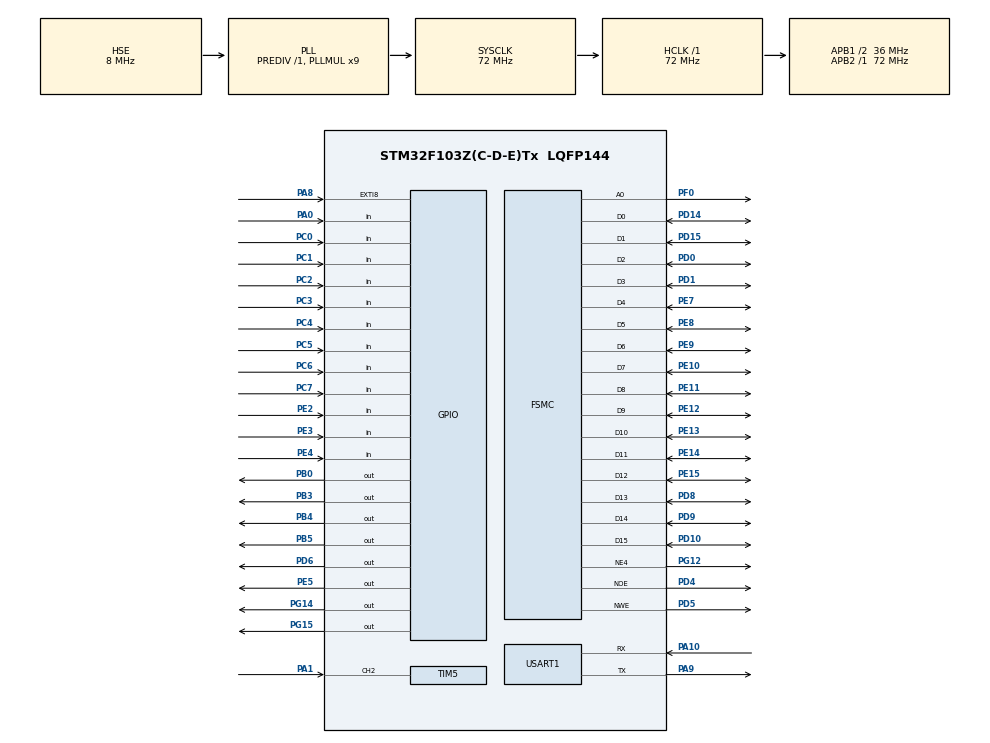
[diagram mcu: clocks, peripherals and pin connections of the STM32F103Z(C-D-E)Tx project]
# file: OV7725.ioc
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FREERTOS.BinarySemaphores01=presss,Dynamic,NULL
FREERTOS.INCLUDE_eTaskGetState=1
FREERTOS.INCLUDE_pcTaskGetTaskName=1
FREERTOS.INCLUDE_uxTaskGetStackHighWaterMark=1
FREERTOS.INCLUDE_vTaskCleanUpResources=1
FREERTOS.INCLUDE_vTaskDelayUntil=1
FREERTOS.INCLUDE_xEventGroupSetBitFromISR=1
FREERTOS.INCLUDE_xQueueGetMutexHolder=1
FREERTOS.INCLUDE_xSemaphoreGetMutexHolder=1
FREERTOS.INCLUDE_xTaskAbortDelay=1
FREERTOS.INCLUDE_xTaskGetCurrentTaskHandle=1
FREERTOS.INCLUDE_xTaskGetHandle=1
FREERTOS.INCLUDE_xTimerPendFunctionCall=1
FREERTOS.Queues01=mailQueue,16,uint16_t,0,Dynamic,NULL,NULL
FREERTOS.Tasks01=defaultTask,-1,128,StartDefaultTask,Default,NULL,Dynamic,NULL,NULL;OV7725Process,0,128,OV7725ProcessTask,Default,NULL,Dynamic,NULL,NULL;PID_Thread,2,128,PIDThread,Default,NULL,Dynamic,NULL,NULL
FREERTOS.configCHECK_FOR_STACK_OVERFLOW=0
FREERTOS.configGENERATE_RUN_TIME_STATS=1
FREERTOS.configRECORD_STACK_HIGH_ADDRESS=1
FREERTOS.configUSE_APPLICATION_TASK_TAG=1
FREERTOS.configUSE_COUNTING_SEMAPHORES=1
FREERTOS.configUSE_CO_ROUTINES=1
FREERTOS.configUSE_DAEMON_TASK_STARTUP_HOOK=0
FREERTOS.configUSE_IDLE_HOOK=0
FREERTOS.configUSE_MALLOC_FAILED_HOOK=0
FREERTOS.configUSE_NEWLIB_REENTRANT=1
FREERTOS.configUSE_RECURSIVE_MUTEXES=1
FREERTOS.configUSE_STATS_FORMATTING_FUNCTIONS=1
FREERTOS.configUSE_TICK_HOOK=0
FREERTOS.configUSE_TIMERS=1
FSMC.AddressSetupTime1=6
FSMC.BusTurnAroundDuration1=0
FSMC.DataSetupTime1=26
FSMC.ExtendedAddressSetupTime1=3
FSMC.ExtendedBusTurnAroundDuration1=0
FSMC.ExtendedDataSetupTime1=6
FSMC.ExtendedMode1=FSMC_EXTENDED_MODE_ENABLE
FSMC.WriteOperation1=FSMC_WRITE_OPERATION_ENABLE
Mcu.Family=STM32F1
Mcu.Name=STM32F103Z(C-D-E)Tx
Mcu.Package=LQFP144
NVIC.EXTI9_5_IRQn=true\:6\:0\:true\:false\:true\:true\:true\:true\:true
NVIC.PriorityGroup=NVIC_PRIORITYGROUP_4
NVIC.TIM4_IRQn=true\:5\:0\:false\:false\:true\:true\:true\:true\:true
NVIC.TIM5_IRQn=true\:5\:0\:true\:false\:true\:true\:true\:true\:true
NVIC.TIM6_IRQn=true\:10\:0\:true\:false\:true\:true\:true\:true\:true
NVIC.TIM7_IRQn=true\:6\:0\:true\:false\:true\:true\:true\:true\:true
NVIC.USART1_IRQn=true\:10\:0\:true\:false\:true\:true\:true\:true\:true
OSC_IN.Mode=HSE-External-Oscillator
OSC_IN.Signal=RCC_OSC_IN
OSC_OUT.Mode=HSE-External-Oscillator
OSC_OUT.Signal=RCC_OSC_OUT
PA0-WKUP.GPIO_PuPd=GPIO_PULLDOWN
PA0-WKUP.Signal=GPIO_Input
PA1.Signal=S_TIM5_CH2
PA10.Mode=Asynchronous
PA10.Signal=USART1_RX
PA13.Mode=Serial_Wire
PA13.Signal=SYS_JTMS-SWDIO
PA14.Mode=Serial_Wire
PA14.Signal=SYS_JTCK-SWCLK
PA8.GPIO_PuPd=GPIO_PULLDOWN
PA8.Signal=GPXTI8
PA9.Mode=Asynchronous
PA9.Signal=USART1_TX
PB0.GPIO_PuPd=GPIO_PULLUP
PB0.GPIO_Speed=GPIO_SPEED_FREQ_HIGH
PB0.PinState=GPIO_PIN_RESET
PB0.Signal=GPIO_Output
PB3.GPIO_PuPd=GPIO_NOPULL
PB3.PinState=GPIO_PIN_SET
PB3.Signal=GPIO_Output
PB4.GPIO_PuPd=GPIO_NOPULL
PB4.PinState=GPIO_PIN_SET
PB4.Signal=GPIO_Output
PB5.GPIO_PuPd=GPIO_PULLUP
PB5.GPIO_Speed=GPIO_SPEED_FREQ_HIGH
PB5.PinState=GPIO_PIN_SET
PB5.Signal=GPIO_Output
PC0.GPIO_PuPd=GPIO_PULLUP
PC0.Signal=GPIO_Input
PC1.GPIO_PuPd=GPIO_PULLUP
PC1.Signal=GPIO_Input
PC2.GPIO_PuPd=GPIO_PULLUP
PC2.Signal=GPIO_Input
PC3.GPIO_PuPd=GPIO_PULLUP
PC3.Signal=GPIO_Input
PC4.GPIO_PuPd=GPIO_PULLUP
PC4.Signal=GPIO_Input
PC5.GPIO_PuPd=GPIO_PULLUP
PC5.Signal=GPIO_Input
PC6.GPIO_PuPd=GPIO_PULLUP
PC6.Signal=GPIO_Input
PC7.GPIO_PuPd=GPIO_PULLUP
PC7.Signal=GPIO_Input
PD0.Signal=FSMC_D2_DA2
PD1.Signal=FSMC_D3_DA3
PD10.Signal=FSMC_D15_DA15
PD14.Signal=FSMC_D0_DA0
PD15.Signal=FSMC_D1_DA1
PD4.Signal=FSMC_NOE
PD5.Signal=FSMC_NWE
PD6.PinState=GPIO_PIN_SET
PD6.Signal=GPIO_Output
PD8.Signal=FSMC_D13_DA13
PD9.Signal=FSMC_D14_DA14
PE10.Signal=FSMC_D7_DA7
PE11.Signal=FSMC_D8_DA8
PE12.Signal=FSMC_D9_DA9
PE13.Signal=FSMC_D10_DA10
PE14.Signal=FSMC_D11_DA11
PE15.Signal=FSMC_D12_DA12
PE2.GPIO_PuPd=GPIO_PULLUP
PE2.Signal=GPIO_Input
PE3.GPIO_PuPd=GPIO_PULLUP
PE3.Signal=GPIO_Input
PE4.GPIO_PuPd=GPIO_PULLUP
PE4.Signal=GPIO_Input
PE5.GPIO_PuPd=GPIO_PULLUP
PE5.GPIO_Speed=GPIO_SPEED_FREQ_HIGH
PE5.PinState=GPIO_PIN_SET
PE5.Signal=GPIO_Output
PE7.Signal=FSMC_D4_DA4
PE8.Signal=FSMC_D5_DA5
PE9.Signal=FSMC_D6_DA6
PF0.Signal=FSMC_A0
PG0.Signal=FSMC_A10
PG12.Mode=NorPsramChipSelect4_1
PG12.Signal=FSMC_NE4
PG14.PinState=GPIO_PIN_SET
PG14.Signal=GPIO_Output
PG15.PinState=GPIO_PIN_SET
PG15.Signal=GPIO_Output
ProjectManager.HeapSize=0x200
ProjectManager.StackSize=0x400
ProjectManager.TargetToolchain=STM32CubeIDE
RCC.AHBFreq_Value=72000000
RCC.APB1CLKDivider=RCC_HCLK_DIV2
RCC.APB1Freq_Value=36000000
RCC.APB1TimFreq_Value=72000000
RCC.APB2Freq_Value=72000000
RCC.APB2TimFreq_Value=72000000
RCC.HCLKFreq_Value=72000000
RCC.PLLMUL=RCC_PLL_MUL9
RCC.PLLSourceVirtual=RCC_PLLSOURCE_HSE
RCC.SYSCLKFreq_VALUE=72000000
RCC.SYSCLKSource=RCC_SYSCLKSOURCE_PLLCLK
RCC.USBFreq_Value=72000000
SH.FSMC_A0.0=FSMC_A0,1b-a1
SH.FSMC_A10.0=FSMC_A10
SH.FSMC_D0_DA0.0=FSMC_D0,16b-d1
SH.FSMC_D10_DA10.0=FSMC_D10,16b-d1
SH.FSMC_D11_DA11.0=FSMC_D11,16b-d1
SH.FSMC_D12_DA12.0=FSMC_D12,16b-d1
SH.FSMC_D13_DA13.0=FSMC_D13,16b-d1
SH.FSMC_D14_DA14.0=FSMC_D14,16b-d1
SH.FSMC_D15_DA15.0=FSMC_D15,16b-d1
SH.FSMC_D1_DA1.0=FSMC_D1,16b-d1
SH.FSMC_D2_DA2.0=FSMC_D2,16b-d1
SH.FSMC_D3_DA3.0=FSMC_D3,16b-d1
SH.FSMC_D4_DA4.0=FSMC_D4,16b-d1
SH.FSMC_D5_DA5.0=FSMC_D5,16b-d1
SH.FSMC_D6_DA6.0=FSMC_D6,16b-d1
SH.FSMC_D7_DA7.0=FSMC_D7,16b-d1
SH.FSMC_D8_DA8.0=FSMC_D8,16b-d1
SH.FSMC_D9_DA9.0=FSMC_D9,16b-d1
SH.FSMC_NOE.0=FSMC_NOE,Sram1
SH.FSMC_NWE.0=FSMC_NWE,Sram1
SH.S_TIM5_CH2.0=TIM5_CH2,Input_Capture2_from_TI2
TIM4.Period=1000
TIM4.Prescaler=7200-1
TIM5.AutoReloadPreload=TIM_AUTORELOAD_PRELOAD_ENABLE
TIM5.Channel-Input_Capture2_from_TI2=TIM_CHANNEL_2
TIM5.Prescaler=6-1
TIM6.AutoReloadPreload=TIM_AUTORELOAD_PRELOAD_ENABLE
TIM6.Period=10000
TIM6.Prescaler=7200-1
TIM7.AutoReloadPreload=TIM_AUTORELOAD_PRELOAD_ENABLE
TIM7.Period=1000
TIM7.Prescaler=72-1
USART1.VirtualMode=VM_ASYNC
VP_FREERTOS_VS_CMSIS_V1.Mode=CMSIS_V1
VP_TIM4_VS_ClockSourceINT.Mode=Internal
VP_TIM6_VS_ClockSourceINT.Mode=Enable_Timer
VP_TIM7_VS_ClockSourceINT.Mode=Enable_Timer
board=custom

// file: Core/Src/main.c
/* USER CODE BEGIN Header */
/**
  ******************************************************************************
  * @file           : main.c
  * @brief          : Main program body
  ******************************************************************************
  * @attention
  *
  * Copyright (c) 2023 STMicroelectronics.
  * All rights reserved.
  *
  * This software is licensed under terms that can be found in the LICENSE file
  * in the root directory of this software component.
  * If no LICENSE file comes with this software, it is provided AS-IS.
  *
  ******************************************************************************
  */
/* USER CODE END Header */
#include "common_inc.h"
#include "main.h"
#include "cmsis_os.h"
#include "tim.h"
#include "usart.h"
#include "gpio.h"
#include "fsmc.h"

void SystemClock_Config(void);
void MX_FREERTOS_Init(void);

int main(void)
{

  /* MCU Configuration--------------------------------------------------------*/

  /* Reset of all peripherals, Initializes the Flash interface and the Systick. */
  HAL_Init();

  /* Configure the system clock */
  SystemClock_Config();

  /* Initialize all configured peripherals */
  MX_GPIO_Init();
  MX_FSMC_Init();
  MX_USART1_UART_Init();
  MX_TIM5_Init();
  MX_TIM6_Init();
  MX_TIM4_Init();
  MX_TIM7_Init();
  /* USER CODE BEGIN 2 */
  	usmart_dev.init(84); 		  	  	//初始化USMART
  	POINT_COLOR=RED;     				//画笔颜色：红色
  	LCD_ShowString(30,50,200,16,16,"WarShip STM32");
  	LCD_ShowString(30,70,200,16,16,"OV7725 TEST");
  	LCD_ShowString(30,90,200,16,16,"ATOM@ALIENTEK");
  	LCD_ShowString(30,110,200,16,16,"2019/9/19");
  	LCD_ShowString(30,130,200,16,16,"KEY0:Light Mode");
  	LCD_ShowString(30,150,200,16,16,"KEY1:Saturation");
  	LCD_ShowString(30,170,200,16,16,"KEY_UP:Contrast");
  	LCD_ShowString(30,210,200,16,16,"TPAD:Effects");
  	LCD_ShowString(30,230,200,16,16,"OV7725 Init...");

//  Bsp_Init();

  /* USER CODE END 2 */

  /* Call init function for freertos objects (in freertos.c) */
  MX_FREERTOS_Init();

  /* Start scheduler */
  osKernelStart();

  /* We should never get here as control is now taken by the scheduler */
  /* Infinite loop */
  while (1)
  {

  }
}

void SystemClock_Config(void)
{
  RCC_OscInitTypeDef RCC_OscInitStruct = {0};
  RCC_ClkInitTypeDef RCC_ClkInitStruct = {0};

  /** Initializes the RCC Oscillators according to the specified parameters
  * in the RCC_OscInitTypeDef structure.
  */
  RCC_OscInitStruct.OscillatorType = RCC_OSCILLATORTYPE_HSE;
  RCC_OscInitStruct.HSEState = RCC_HSE_ON;
  RCC_OscInitStruct.HSEPredivValue = RCC_HSE_PREDIV_DIV1;
  RCC_OscInitStruct.HSIState = RCC_HSI_ON;
  RCC_OscInitStruct.PLL.PLLState = RCC_PLL_ON;
  RCC_OscInitStruct.PLL.PLLSource = RCC_PLLSOURCE_HSE;
  RCC_OscInitStruct.PLL.PLLMUL = RCC_PLL_MUL9;
  if (HAL_RCC_OscConfig(&RCC_OscInitStruct) != HAL_OK)
  {
    Error_Handler();
  }

  /** Initializes the CPU, AHB and APB buses clocks
  */
  RCC_ClkInitStruct.ClockType = RCC_CLOCKTYPE_HCLK|RCC_CLOCKTYPE_SYSCLK
                              |RCC_CLOCKTYPE_PCLK1|RCC_CLOCKTYPE_PCLK2;
  RCC_ClkInitStruct.SYSCLKSource = RCC_SYSCLKSOURCE_PLLCLK;
  RCC_ClkInitStruct.AHBCLKDivider = RCC_SYSCLK_DIV1;
  RCC_ClkInitStruct.APB1CLKDivider = RCC_HCLK_DIV2;
  RCC_ClkInitStruct.APB2CLKDivider = RCC_HCLK_DIV1;

  if (HAL_RCC_ClockConfig(&RCC_ClkInitStruct, FLASH_LATENCY_2) != HAL_OK)
  {
    Error_Handler();
  }
}

void Error_Handler(void)
{
  __disable_irq();
  while (1)
  {
  }
}

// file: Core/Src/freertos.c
/* USER CODE BEGIN Header */
/**
  ******************************************************************************
  * File Name          : freertos.c
  * Description        : Code for freertos applications
  ******************************************************************************
  * @attention
  *
  * Copyright (c) 2023 STMicroelectronics.
  * All rights reserved.
  *
  * This software is licensed under terms that can be found in the LICENSE file
  * in the root directory of this software component.
  * If no LICENSE file comes with this software, it is provided AS-IS.
  *
  ******************************************************************************
  */
/* USER CODE END Header */

#include "common_inc.h"
#include "FreeRTOS.h"
#include "task.h"
#include "main.h"
#include "cmsis_os.h"

/* USER CODE BEGIN PTD */
void PID_execution_lock(void);
void PID_execution_unlock(void);
/* USER CODE END PTD */

/* USER CODE BEGIN PD */
#define BIT_SENSOR_READY	( 1 << 0 )
#define SENSOR_COLLECTION_PERIOD    1000

/* USER CODE END PD */

/* USER CODE BEGIN Variables */

#define HMI_PACKET_LEN  8

uint8_t rxBuffer[HMI_PACKET_LEN];
uint8_t rxData;

typedef enum {
    PUFFER_MSG_HMI_RECV = 0,
    PUFFER_MSG_HMI_SEND,
}PUFFER_MSG_t;

// 定义邮件结构体
typedef struct
{
  PUFFER_MSG_t msg_type;
  uint8_t data[HMI_PACKET_LEN];
} MailData;

// 定义邮件队列控制块
osMailQDef(mailQueue, 4, MailData); // 邮件队列最大容量为4
osMailQId mailQueue;

osMutexDef(PIDExecution);
osMutexId gPIDExecutionMutexId_;

/* USER CODE END Variables */
osThreadId defaultTaskHandle;
osThreadId OV7725ProcessHandle;
osThreadId PID_ThreadHandle;
osMessageQId mailQueueHandle;
osSemaphoreId presssHandle;

void StartDefaultTask(void const * argument);
void OV7725ProcessTask(void const * argument);
void PIDThread(void const * argument);

void MX_FREERTOS_Init(void); /* (MISRA C 2004 rule 8.1) */

/* GetIdleTaskMemory prototype (linked to static allocation support) */
void vApplicationGetIdleTaskMemory( StaticTask_t **ppxIdleTaskTCBBuffer, StackType_t **ppxIdleTaskStackBuffer, uint32_t *pulIdleTaskStackSize );

/* GetTimerTaskMemory prototype (linked to static allocation support) */
void vApplicationGetTimerTaskMemory( StaticTask_t **ppxTimerTaskTCBBuffer, StackType_t **ppxTimerTaskStackBuffer, uint32_t *pulTimerTaskStackSize );

/* Hook prototypes */
void configureTimerForRunTimeStats(void);
unsigned long getRunTimeCounterValue(void);

/* USER CODE BEGIN 1 */

void PID_execution_lock(void)
{
  osMutexWait(gPIDExecutionMutexId_, osWaitForever);

}

void PID_execution_unlock(void)
{
  osMutexRelease(gPIDExecutionMutexId_);
}

/* Functions needed when configGENERATE_RUN_TIME_STATS is on */
__weak void configureTimerForRunTimeStats(void)
{

}

__weak unsigned long getRunTimeCounterValue(void)
{
return 0;
}
/* USER CODE END 1 */

/* USER CODE BEGIN GET_IDLE_TASK_MEMORY */
static StaticTask_t xIdleTaskTCBBuffer;
static StackType_t xIdleStack[configMINIMAL_STACK_SIZE];

void vApplicationGetIdleTaskMemory( StaticTask_t **ppxIdleTaskTCBBuffer, StackType_t **ppxIdleTaskStackBuffer, uint32_t *pulIdleTaskStackSize )
{
  *ppxIdleTaskTCBBuffer = &xIdleTaskTCBBuffer;
  *ppxIdleTaskStackBuffer = &xIdleStack[0];
  *pulIdleTaskStackSize = configMINIMAL_STACK_SIZE;
  /* place for user code */
}
/* USER CODE END GET_IDLE_TASK_MEMORY */

/* USER CODE BEGIN GET_TIMER_TASK_MEMORY */
static StaticTask_t xTimerTaskTCBBuffer;
static StackType_t xTimerStack[configTIMER_TASK_STACK_DEPTH];

void vApplicationGetTimerTaskMemory( StaticTask_t **ppxTimerTaskTCBBuffer, StackType_t **ppxTimerTaskStackBuffer, uint32_t *pulTimerTaskStackSize )
{
  *ppxTimerTaskTCBBuffer = &xTimerTaskTCBBuffer;
  *ppxTimerTaskStackBuffer = &xTimerStack[0];
  *pulTimerTaskStackSize = configTIMER_TASK_STACK_DEPTH;
  /* place for user code */
}
/* USER CODE END GET_TIMER_TASK_MEMORY */

void MX_FREERTOS_Init(void) {

  /* Create the semaphores(s) */
  /* definition and creation of presss */
  osSemaphoreDef(presss);
  presssHandle = osSemaphoreCreate(osSemaphore(presss), 1);

  /* Create the queue(s) */
  /* definition and creation of mailQueue */
  osMessageQDef(mailQueue, 16, uint16_t);
  mailQueueHandle = osMessageCreate(osMessageQ(mailQueue), NULL);

  // 初始化邮件队列
  mailQueue = osMailCreate(osMailQ(mailQueue), NULL);

  gPIDExecutionMutexId_ = osMutexCreate(osMutex(PIDExecution));

  /* Create the thread(s) */
  /* definition and creation of defaultTask */
  osThreadDef(defaultTask, StartDefaultTask, osPriorityBelowNormal, 0, 128);
  defaultTaskHandle = osThreadCreate(osThread(defaultTask), NULL);

  /* definition and creation of OV7725Process */
  osThreadDef(OV7725Process, OV7725ProcessTask, osPriorityNormal, 0, 128);
  OV7725ProcessHandle = osThreadCreate(osThread(OV7725Process), NULL);

  /* definition and creation of PID_Thread */
  osThreadDef(PID_Thread, PIDThread, osPriorityHigh, 0, 128);
  PID_ThreadHandle = osThreadCreate(osThread(PID_Thread), NULL);

}

void StartDefaultTask(void const * argument)
{
  /* USER CODE BEGIN StartDefaultTask */

  /* Infinite loop */
  for(;;)
  {

	  osThreadDef(OV7725Process, OV7725ProcessTask, osPriorityNormal, 0, 128);
	  OV7725ProcessHandle = osThreadCreate(osThread(OV7725Process), NULL);

	  vTaskDelete(defaultTaskHandle);
  }
  /* USER CODE END StartDefaultTask */
}

void OV7725ProcessTask(void const * argument)
{
  /* USER CODE BEGIN OV7725ProcessTask */

  UNUSED(argument);

  uint32_t PreviousWakeTime = 0;

  /* Infinite loop */
  for(;;)
  {
//	event = osSignalWait(BIT_SENSOR_READY, osWaitForever);
//	if(event.value.signals == (BIT_SENSOR_READY))
//	{
//	  printf("3333333333333333\r\n");
//	}

	/* completed packet from UART, Sensor */
//	event = osMailGet(mailQueue, osWaitForever);
//
//	if (event.status == osEventMail)
//	{
//
//	  // 从邮件中获取数据
//	  MailData *mail = (MailData *)event.value.p;
//
//	  switch (mail->msg_type)
//	  {
//	  case PUFFER_MSG_HMI_RECV:
//		printf("3333333333333333\r\n");
//
//		// 处理接收到的数据
//		// 在这里可以执行任意用户任务的操作
//		break;
//	  case PUFFER_MSG_HMI_SEND:
//		  printf("44444444444444\r\n");
//		break;
//	  default:
//		break;
//	  }
//
//	  // 释放邮件内存
//	  osMailFree(mailQueue, mail);
//	}
	  PreviousWakeTime = osKernelSysTick();

	  PID_execution_lock();
	  printf("11111111111111\r\n");
	  Main();
	  PID_execution_unlock();
	  osSignalSet( PID_ThreadHandle, BIT_SENSOR_READY );

	  osDelayUntil(&PreviousWakeTime, SENSOR_COLLECTION_PERIOD);
  }
  /* USER CODE END OV7725ProcessTask */
}

void PIDThread(void const * argument)
{
  /* USER CODE BEGIN PIDThread */
	 osEvent event;
  /* Infinite loop */
  for(;;)
  {
	  	event = osSignalWait(BIT_SENSOR_READY, osWaitForever);
	  	if(event.value.signals == (BIT_SENSOR_READY))
	  	{
	  	  PID_execution_lock();
	  	  printf("222222222222222222\r\n");
	  	  osDelay(500);
	  	  printf("3333333333333333\r\n");

	  	  PID_execution_unlock();
	  	}

//	    if (PreviousWakeTime % 3000 == 0) {
//			// 创建邮件
//			MailData *mail = (MailData *)osMailAlloc(mailQueue, osWaitForever);
//	//        memcpy(mail->data, rxBuffer, HMI_PACKET_LEN);
//			mail->msg_type = PUFFER_MSG_HMI_RECV;
//			// 发送邮件给用户任务
//			osMailPut(mailQueue, mail);
//	    }

//	    if (PreviousWakeTime % 4000 == 0) {
//			// 创建邮件
//			MailData *mail = (MailData *)osMailAlloc(mailQueue, osWaitForever);
//	//        memcpy(mail->data, rxBuffer, HMI_PACKET_LEN);
//			mail->msg_type = PUFFER_MSG_HMI_SEND;
//			// 发送邮件给用户任务
//			osMailPut(mailQueue, mail);
//	    }

  }
  /* USER CODE END PIDThread */
}
